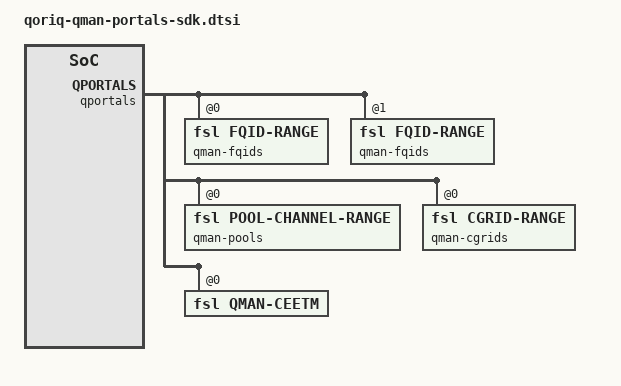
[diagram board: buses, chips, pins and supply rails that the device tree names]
/*
 * QorIQ QMan SDK Portals device tree nodes
 *
 * Copyright 2011-2016 Freescale Semiconductor Inc.
 * Copyright 2017 NXP
 *
 * SPDX-License-Identifier: (GPL-2.0+ OR BSD-3-Clause)
 */

&qportals {
	qman-fqids@0 {
		compatible = "fsl,fqid-range";
		fsl,fqid-range = <256 256>;
	};

	qman-fqids@1 {
		compatible = "fsl,fqid-range";
		fsl,fqid-range = <32768 32768>;
	};

	qman-pools@0 {
		compatible = "fsl,pool-channel-range";
		fsl,pool-channel-range = <0x401 0xf>;
	};

	qman-cgrids@0 {
		compatible = "fsl,cgrid-range";
		fsl,cgrid-range = <0 256>;
	};

	qman-ceetm@0 {
		compatible = "fsl,qman-ceetm";
		fsl,ceetm-lfqid-range = <0xf00000 0x1000>;
		fsl,ceetm-sp-range = <0 16>;
		fsl,ceetm-lni-range = <0 8>;
		fsl,ceetm-channel-range = <0 32>;
	};
};
